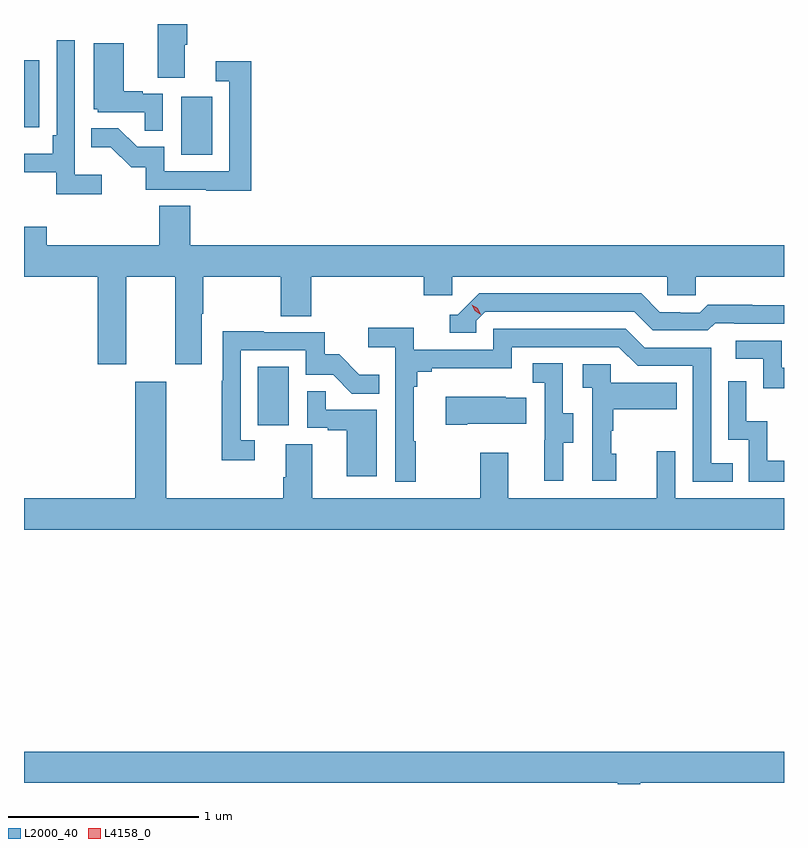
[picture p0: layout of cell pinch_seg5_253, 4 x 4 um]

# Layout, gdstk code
import gdstk
lib = gdstk.Library(unit=1e-6, precision=1e-09)
def R(c, l, rs):  # rectangles x0, y0, x1, y1
    for r in rs: c.add(gdstk.rectangle(r[:2], r[2:], *l))
def P(c, l, *ps):  # polygons
    for p in ps: c.add(gdstk.Polygon(p, *l))
L2000_40 = (2000, 40)
L4158_0 = (4158, 0)

pinch_seg5_253 = lib.new_cell('pinch_seg5_253')
R(pinch_seg5_253, L2000_40, [(947.204,913.254,947.368,913.561), (946.802,914.676,946.966,914.983), (945.974,914.822,946.054,915.175)])
P(pinch_seg5_253, L2000_40, [(946.819,915.256),(946.832,915.256),(946.832,915.365),(946.679,915.365),(946.679,915.082),(946.819,915.082)],
  [(946.384,914.572),(946.242,914.572),(946.242,915.28),(946.146,915.28),(946.146,914.779),(946.126,914.779),(946.126,914.683),(945.974,914.683),(945.974,914.586),(946.145,914.586),(946.145,914.47),(946.384,914.47)],
  [(946.704,914.997),(946.598,914.997),(946.598,915.01),(946.498,915.01),(946.498,915.265),(946.34,915.265),(946.34,914.916),(946.362,914.916),(946.362,914.901),(946.609,914.901),(946.609,914.803),(946.704,914.803)],
  [(947.171,915.169),(946.983,915.169),(946.983,915.063),(947.055,915.063),(947.055,914.589),(946.713,914.589),(946.713,914.718),(946.569,914.718),(946.471,914.816),(946.327,914.816),(946.327,914.717),(946.431,914.717),(946.538,914.61),(946.615,914.61),(946.615,914.493),(946.933,914.493),(946.933,914.488),(947.171,914.488)],
  [(946.513,914.036),(946.769,914.036),(946.769,913.575),(946.909,913.575),(946.909,913.84),(946.917,913.84),(946.917,914.036),(947.326,914.036),(947.326,913.828),(947.486,913.828),(947.486,914.036),(948.077,914.036),(948.077,913.938),(948.228,913.938),(948.228,914.036),(949.359,914.036),(949.359,913.938),(949.509,913.938),(949.509,914.036),(949.974,914.036),(949.974,914.2),(946.85,914.2),(946.85,914.408),(946.685,914.408),(946.685,914.2),(946.094,914.2),(946.094,914.298),(945.974,914.298),(945.974,914.036),(946.361,914.036),(946.361,913.575),(946.513,913.575)],
  [(948.354,913.803),(948.402,913.851),(949.185,913.851),(949.284,913.752),(949.573,913.752),(949.612,913.791),(949.711,913.791),(949.711,913.788),(949.974,913.788),(949.974,913.885),(949.806,913.885),(949.806,913.888),(949.573,913.888),(949.531,913.845),(949.428,913.845),(949.428,913.848),(949.321,913.848),(949.222,913.947),(948.369,913.947),(948.258,913.836),(948.215,913.836),(948.215,913.74),(948.354,913.74)],
  [(948.037,913.169),(948.025,913.169),(948.025,913.457),(948.044,913.457),(948.044,913.534),(948.121,913.534),(948.121,913.553),(948.54,913.553),(948.54,913.665),(949.104,913.665),(949.203,913.566),(949.494,913.566),(949.494,912.957),(949.703,912.957),(949.703,913.053),(949.59,913.053),(949.59,913.662),(949.24,913.662),(949.141,913.761),(948.444,913.761),(948.444,913.65),(948.026,913.65),(948.026,913.766),(947.787,913.766),(947.787,913.664),(947.928,913.664),(947.928,912.957),(948.037,912.957)],
  [(947.188,913.173),(947.115,913.173),(947.115,913.647),(947.457,913.647),(947.457,913.518),(947.601,913.518),(947.699,913.42),(947.843,913.42),(947.843,913.519),(947.739,913.519),(947.632,913.626),(947.556,913.626),(947.556,913.743),(947.237,913.743),(947.237,913.748),(947.019,913.748),(947.019,913.487),(947.014,913.487),(947.014,913.068),(947.188,913.068)],
  [(949.974,913.557),(949.962,913.557),(949.962,913.698),(949.719,913.698),(949.719,913.602),(949.866,913.602),(949.866,913.449),(949.974,913.449)],
  [(948.811,913.162),(948.865,913.162),(948.865,913.317),(948.81,913.317),(948.81,913.58),(948.651,913.58),(948.651,913.477),(948.714,913.477),(948.714,913.173),(948.713,913.173),(948.713,912.96),(948.811,912.96)],
  [(949.09,913.104),(949.065,913.104),(949.065,913.223),(949.075,913.223),(949.075,913.337),(949.409,913.337),(949.409,913.477),(949.062,913.477),(949.062,913.575),(948.915,913.575),(948.915,913.451),(948.966,913.451),(948.966,912.96),(949.09,912.96)],
  [(949.974,913.066),(949.886,913.066),(949.886,913.274),(949.776,913.274),(949.776,913.486),(949.68,913.486),(949.68,913.176),(949.788,913.176),(949.788,912.957),(949.974,912.957)],
  [(949.974,912.868),(949.401,912.868),(949.401,913.117),(949.304,913.117),(949.304,912.868),(948.523,912.868),(948.523,913.108),(948.376,913.108),(948.376,912.868),(947.491,912.868),(947.491,913.154),(947.351,913.154),(947.351,912.98),(947.339,912.98),(947.339,912.868),(946.723,912.868),(946.723,913.483),(946.559,913.483),(946.559,912.868),(945.974,912.868),(945.974,912.704),(949.974,912.704)],
  [(947.83,913.335),(947.561,913.335),(947.561,913.433),(947.466,913.433),(947.466,913.239),(947.573,913.239),(947.573,913.227),(947.672,913.227),(947.672,912.984),(947.83,912.984)],
  [(948.307,913.262),(948.617,913.262),(948.617,913.399),(948.509,913.399),(948.509,913.402),(948.195,913.402),(948.195,913.255),(948.307,913.255)],
  [(949.218,911.372),(949.974,911.372),(949.974,911.536),(945.974,911.536),(945.974,911.372),(949.099,911.372),(949.099,911.365),(949.218,911.365)])
P(pinch_seg5_253, L4158_0, [(948.377,913.836),(948.346,913.855),(948.33,913.888),(948.33,913.888),(948.33,913.888),(948.361,913.869),(948.377,913.836),(948.377,913.836)])

lib.write_gds('pinch_seg5_253.gds')
